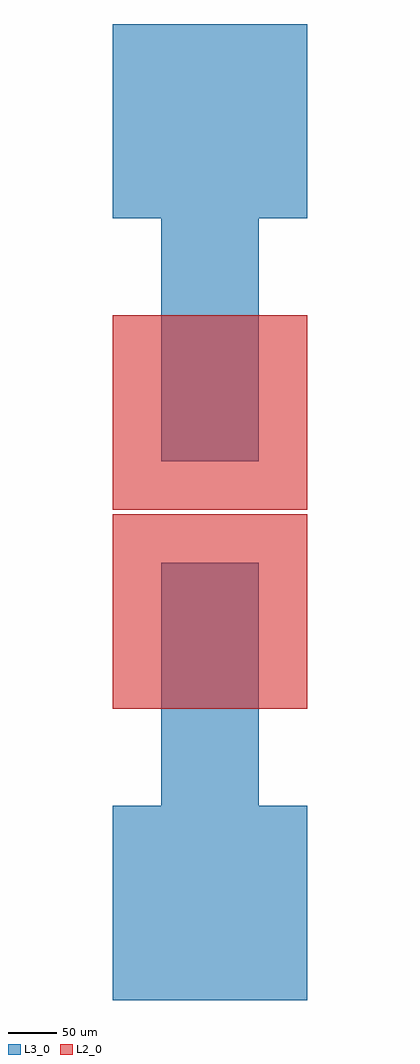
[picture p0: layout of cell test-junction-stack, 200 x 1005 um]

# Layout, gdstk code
import gdstk
lib = gdstk.Library(unit=1e-6, precision=1e-09)
def R(c, l, rs):  # rectangles x0, y0, x1, y1
    for r in rs: c.add(gdstk.rectangle(r[:2], r[2:], *l))
L2_0 = (2, 0)
L3_0 = (3, 0)

test_junction_stack = lib.new_cell('test-junction-stack')
R(test_junction_stack, L2_0, [(-100,-202.5,100,-2.5), (-100,2.5,100,202.5)])
R(test_junction_stack, L3_0, [(-100,-502.5,100,-302.5), (-50,-302.5,50,-152.5), (-50,-152.5,50,-52.5), (-50,52.5,50,152.5), (-50,152.5,50,302.5), (-100,302.5,100,502.5)])

lib.write_gds('test-junction-stack.gds')
